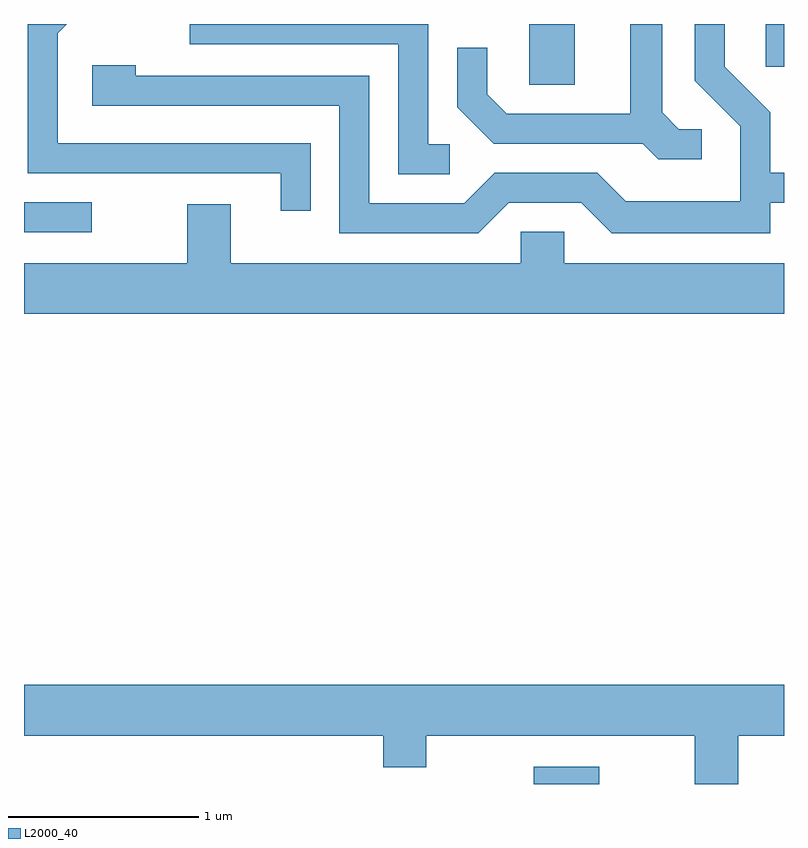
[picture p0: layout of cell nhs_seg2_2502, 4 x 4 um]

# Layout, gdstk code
import gdstk
lib = gdstk.Library(unit=1e-6, precision=1e-09)
def R(c, l, rs):  # rectangles x0, y0, x1, y1
    for r in rs: c.add(gdstk.rectangle(r[:2], r[2:], *l))
def P(c, l, *ps):  # polygons
    for p in ps: c.add(gdstk.Polygon(p, *l))
L2000_40 = (2000, 40)

nhs_seg2_2502 = lib.new_cell('nhs_seg2_2502')
R(nhs_seg2_2502, L2000_40, [(260.293,1085.802,260.639,1085.894), (257.611,1088.706,257.968,1088.864), (260.271,1089.481,260.509,1089.802), (261.516,1089.576,261.611,1089.802)])
P(nhs_seg2_2502, L2000_40, [(261.178,1089.249),(261.057,1089.249),(260.969,1089.337),(260.969,1089.802),(260.801,1089.802),(260.801,1089.329),(260.152,1089.329),(260.049,1089.432),(260.049,1089.678),(259.891,1089.678),(259.891,1089.364),(260.084,1089.171),(260.868,1089.171),(260.949,1089.091),(261.178,1089.091)],
  [(260.162,1088.861),(260.544,1088.861),(260.704,1088.701),(261.539,1088.701),(261.539,1088.861),(261.611,1088.861),(261.611,1089.019),(261.539,1089.019),(261.539,1089.337),(261.299,1089.577),(261.299,1089.802),(261.141,1089.802),(261.141,1089.504),(261.381,1089.264),(261.381,1088.869),(260.777,1088.869),(260.627,1089.019),(260.089,1089.019),(259.929,1088.859),(259.429,1088.859),(259.429,1089.529),(258.199,1089.529),(258.199,1089.584),(257.971,1089.584),(257.971,1089.371),(259.271,1089.371),(259.271,1088.701),(260.002,1088.701)],
  [(259.853,1089.169),(259.739,1089.169),(259.739,1089.802),(258.483,1089.802),(258.483,1089.696),(259.581,1089.696),(259.581,1089.011),(259.853,1089.011)],
  [(259.119,1089.174),(257.789,1089.174),(257.789,1089.754),(257.837,1089.802),(257.631,1089.802),(257.631,1089.016),(258.961,1089.016),(258.961,1088.818),(259.119,1088.818)],
  [(261.611,1088.544),(260.454,1088.544),(260.454,1088.709),(260.226,1088.709),(260.226,1088.544),(258.699,1088.544),(258.699,1088.854),(258.471,1088.854),(258.471,1088.544),(257.611,1088.544),(257.611,1088.276),(261.611,1088.276)],
  [(261.369,1086.056),(261.611,1086.056),(261.611,1086.324),(257.611,1086.324),(257.611,1086.056),(259.501,1086.056),(259.501,1085.891),(259.729,1085.891),(259.729,1086.056),(261.141,1086.056),(261.141,1085.802),(261.369,1085.802)])

lib.write_gds('nhs_seg2_2502.gds')
